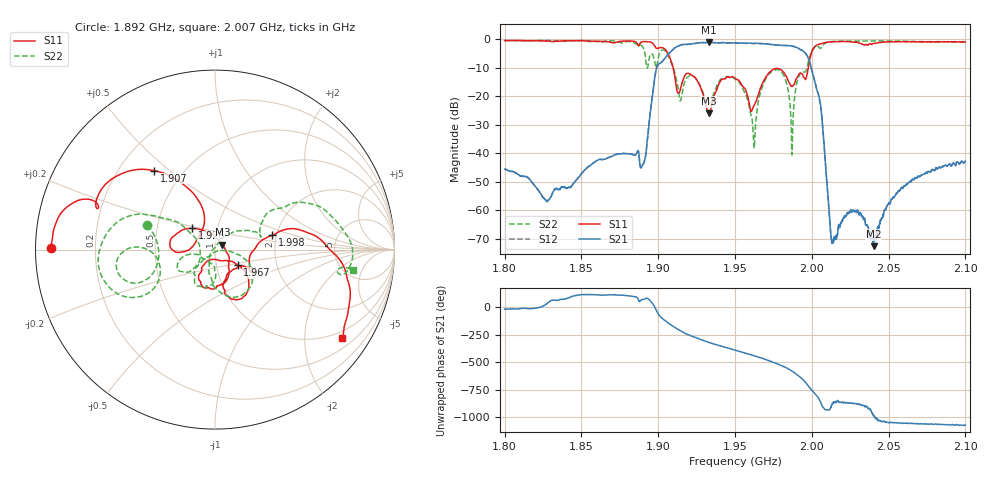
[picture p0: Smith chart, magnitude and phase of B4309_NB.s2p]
! Matrix data file written by TouchstoneData, EPCOS AG
! FILENAME: "B4309_NB.s2p"
! COMMENT: "(AI24B_R1C1_NB.s2p) Epcos AG 3/11/2011 10:50"
! INFO: nport=2, nfreq=1601
! DATE: "Thu Apr  7 08:25:53 2011"
! USER: "Jacques-Antoine Damy"
! port | pin | signal
!  1  |  1  |  IN
!  2  |  4  |  OUT
# MHZ S RI R 50
! freq  reS11 imS11  reS21 imS21  reS12 imS12  reS22 imS22
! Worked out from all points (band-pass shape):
!   1601 points, 1.8 GHz to 2.1 GHz, reference 50 ohm
!   highest |S21| = -1.03 dB at 1.933 GHz (marker M1); lowest = -72.6 dB at 2.04 GHz (marker M2)
!   |S21| within 3 dB of the highest: 1.909 GHz to 1.994 GHz (85.47 MHz wide, 4.38 % of centre)
!   lowest |S11| = -26.0 dB at 1.933 GHz (marker M3), VSWR 1.11, Z = 54.2 + j3.08 ohm
!   |S11| at or under -10 dB: 1.91 GHz to 1.998 GHz (87.97 MHz wide, 4.5 % of centre)
!   |S22| runs from -40.5 to -0.4 dB; largest |S21 - S12| = 0.0045
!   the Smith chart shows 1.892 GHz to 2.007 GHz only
!   S11 on the Smith chart (normalised r, x): 1.892 GHz: 0.04, +0.01; 1.907 GHz: 0.35, +0.44; 1.926 GHz: 0.76, +0.18; 1.967 GHz: 1.27, -0.22; 1.998 GHz: 1.90, +0.34; 2.007 GHz: 0.77, -3.01
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1800  -0.6049 -0.7352  0.00504 -0.00147  0.00507 -0.00143  -0.4225 -0.8556
1827.75  -0.6873 -0.6335  0.00113 0.000885  0.00117 0.000887  -0.5252 -0.7987
1850.062  -0.7775 -0.5472  -0.00185 0.00397  -0.00185 0.00399  -0.6351 -0.7096
1892.062  -0.9152 0.0103  0.00149 0.0101  0.00152 0.0101  -0.377 0.1356
1900.125  -0.6617 0.2342  0.1696 -0.3197  0.1684 -0.3209  -0.4112 -0.2608
1906.5  -0.3373 0.4398  -0.4362 -0.3343  -0.4383 -0.3332  -0.4955 0.1809
1914.375  -0.13 0.0119  -0.6585 0.4399  -0.6574 0.4426  -0.0828 -0.00543
1926.188  -0.1261 0.1185  0.2377 0.8326  0.24 0.8313  -0.1746 -0.0378
1932.938  0.0415 0.0283  0.6747 0.5778  0.6765 0.5758  -0.0466 -0.0595
1950  -0.0768 -0.1941  0.7533 -0.4343  0.7507 -0.4379  -0.1144 -0.1652
1962.188  0.028 -0.0622  0.1538 -0.8328  0.1505 -0.834  -0.0032 -0.0152
1967.25  0.1257 -0.085  -0.1875 -0.821  -0.1911 -0.8206  0.1292 -0.0276
1983.188  0.0534 -0.2243  -0.7689 0.1397  -0.7694 0.1417  -0.016 -0.1807
1987.125  0.0923 -0.1184  -0.5674 0.5096  -0.5659 0.5114  -0.00275 0.00902
1997.812  0.319 0.0803  0.454 0.0205  0.4539 0.0195  0.3476 0.229
2000.062  0.6064 0.038  0.2241 -0.1714  0.2239 -0.1721  0.6046 0.2264
2007.188  0.7096 -0.4931  -0.0263 0.00429  -0.0263 0.00436  0.7684 -0.1132
2013.562  0.5684 -0.7106  -0.000288 -0.000101  -0.000282 -0.000118  0.803 -0.4499
2026.688  0.2918 -0.8485  -0.000904 -0.000415  -0.00093 -0.000416  0.6115 -0.7074
2040.188  0.2426 -0.8171  -1.55e-05 0.000234  -4.05e-05 0.000255  0.4668 -0.8153
2050.125  0.1582 -0.8928  0.00116 0.000657  0.00117 0.00066  0.3809 -0.8565
2100  -0.0908 -0.8941  0.00725 0.000725  0.00728 0.000703  0.1569 -0.8943
